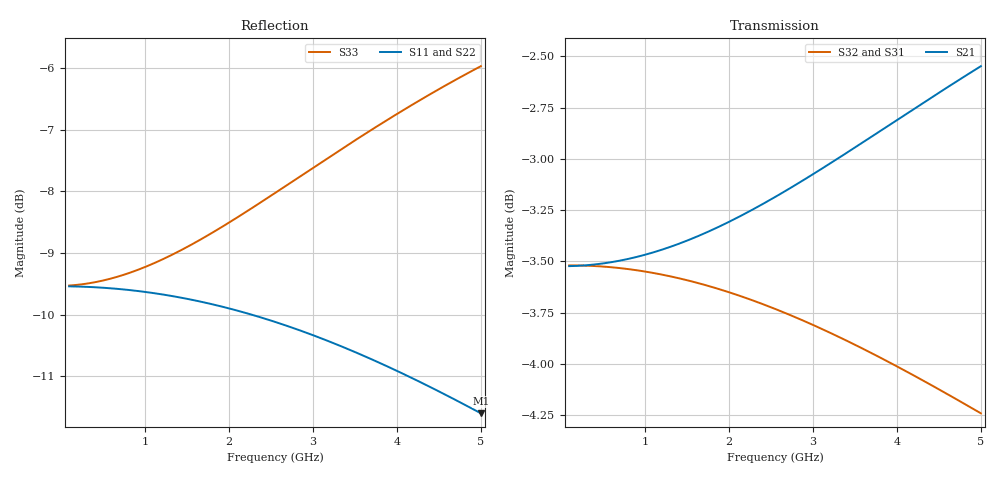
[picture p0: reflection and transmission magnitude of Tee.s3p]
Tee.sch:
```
<Qucs Schematic 24.2.1>
<Properties>
  <View=-95,38,1051,672,1.35833,0,0>
  <Grid=10,10,1>
  <DataSet=Tee.dat>
  <DataDisplay=Tee.dpl>
  <OpenDisplay=0>
  <Script=L1.m>
  <RunScript=0>
  <showFrame=0>
  <FrameText0=Title>
  <FrameText1=Drawn By:>
  <FrameText2=Date:>
  <FrameText3=Revision:>
</Properties>
<Symbol>
  <Line -20 -20 10 0 #000080 2 1>
  <.PortSym -20 -20 1 0>
  <Rectangle -10 -30 40 20 #000000 1 1 #ffaa00 1 1>
  <Line 30 -20 10 0 #000080 2 1>
  <.PortSym 40 -20 2 180>
  <Rectangle 0 -10 20 20 #000000 1 1 #ffaa00 1 1>
  <Line 10 10 0 10 #000000 1 1>
  <.PortSym 10 20 3 0>
  <.ID -10 -66 Tee>
</Symbol>
<Components>
  <Port P1 1 340 150 -23 12 0 0 "1" 1 "analog" 0 "v" 0 "" 0>
  <Port P2 1 540 150 4 -48 0 2 "2" 1 "analog" 0 "v" 0 "" 0>
  <GND * 1 430 240 0 0 0 0>
  <Port P3 1 380 320 12 4 0 1 "3" 1 "analog" 0 "v" 0 "" 0>
  <SPfile X1 1 430 180 -26 -86 0 0 "./EM/Refinement/Tee.s3p" 1 "rectangular" 0 "linear" 0 "open" 0 "3" 0>
</Components>
<Wires>
  <340 150 400 150 "" 0 0 0 "">
  <460 150 540 150 "" 0 0 0 "">
  <380 210 380 320 "" 0 0 0 "">
  <380 210 400 210 "" 0 0 0 "">
</Wires>
<Diagrams>
</Diagrams>
<Paintings>
</Paintings>
```
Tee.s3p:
! Sonnet Data File
! From: sonnet Version : 18.53-Lite
! From Emgraph Data:
! Data File Written: 04/08/2024 17:28:54
!< HDATE 04/08/2024 17:28:28
!< MDATE 04/08/2024 17:28:28
# GHZ S MA R 50.00000
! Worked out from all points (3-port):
!   246 points, 100 MHz to 5 GHz, reference 50 ohm
!   strongest paths, dB at 100 MHz, 1.32 GHz, 2.56 GHz, 3.78 GHz, 5 GHz:
!     S21: -3.5, -3.4, -3.2, -2.9, -2.5
!     S32: -3.5, -3.6, -3.7, -4.0, -4.2
!     S31: -3.5, -3.6, -3.7, -4.0, -4.3
!   lowest |S11| = -11.6 dB at 5 GHz (marker M1), VSWR 1.71, Z = 29.2 - j0.134 ohm
!   |S11| at or under -10 dB: 2.269 GHz to end of sweep
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0.1  0.3333 -179.9  0.6666 -0.4  0.6668 0.8
     0.6666 -0.4  0.3334 -179.8  0.6668 0.9
     0.6668 0.8  0.6668 0.9  0.3339 -177.4
1.36  0.327 -178.4  0.6745 -5.1  0.6623 10.8
      0.6745 -5.1  0.3269 -177.3  0.6624 11.3
      0.6623 10.8  0.6624 11.3  0.3546 -146.1
2.74  0.3088 -177.5  0.6966 -9.5  0.648 21.4
      0.6966 -9.5  0.3082 -175.4  0.6484 22.4
      0.648 21.4  0.6484 22.4  0.4047 -116.8
3.86  0.2876 -177.8  0.7204 -12.3  0.6317 29.6
      0.7204 -12.3  0.2863 -174.9  0.6323 31.0
      0.6317 29.6  0.6323 31.0  0.4537 -97.3
5  0.263 -179.5  0.7458 -14.4  0.6127 37.4
   0.7458 -14.4  0.2607 -175.7  0.6137 39.3
   0.6127 37.4  0.6137 39.3  0.5029 -80.6
